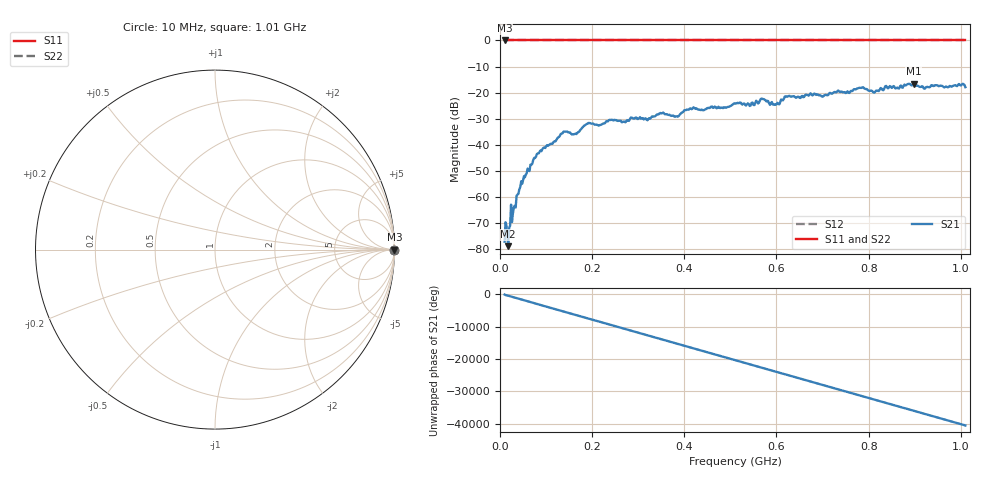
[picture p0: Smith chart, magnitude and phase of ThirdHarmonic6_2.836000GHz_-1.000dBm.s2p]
! 8/17/2025 7:35:35 AM
! C:\ANRITSUVNA\TEMP\TEMP.S2P
! CHANNEL.1
! TR.MEASUREMENT
! RAW.DATA
! RF.CORRECTION.OFF
! AVERAGING.OFF
! IF.BANDWIDTH: 5KHZ
! SWEEPTYPE:  FREQ.SWEEP(Linear)
! Reference Plane Port Info
! PORT:  PORT1  PORT2
! DISTANCE:  0  m  0  m
! TIME:  0  s  0  s
! PHASE.OFFSET:  0  deg.  0  deg.
! LOSS:  0  dB  0  dB
! REF.LOSS:  0  dB  0  dB
! REF.FREQ:  0  Hz  0  Hz
! Power Info
! POWER:  -20  dBm  -20  dBm
! EFF.POWER:  -20  dBm  -20  dBm
! SOURCE.ATTEN:  0  dB  0  dB
! TEST.ATTEN:  0  dB  0  dB
# GHZ S RI R 50.0
! FREQ.GHZ  S11RE  S11IM  S21RE  S21IM  S12RE  S12IM  S22RE  S22IM
!; PortSelection: Port_12
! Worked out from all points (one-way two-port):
!   501 points, 10 MHz to 1.01 GHz, reference 50 ohm
!   highest |S21| = -16.53 dB at 898 MHz (marker M1); lowest = -78.8 dB at 18 MHz (marker M2)
!   lowest |S11| = 0.0 dB at 10 MHz (marker M3)
!   |S11| at or under -10 dB: nowhere
!   |S22| runs from 0.0 to 0.0 dB; largest |S21 - S12| = 1.1
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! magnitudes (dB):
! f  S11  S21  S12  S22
! 10 MHz  0.0  -77.1  0.0  0.0
! 18 MHz  0.0  -78.8  0.0  0.0
! 28 MHz  0.0  -66.3  0.0  0.0
! 30 MHz  0.0  -63.9  0.0  0.0
! 42 MHz  0.0  -57.0  0.0  0.0
! 78 MHz  0.0  -44.6  0.0  0.0
! 136 MHz  0.0  -35.5  0.0  0.0
! 162 MHz  0.0  -35.9  0.0  0.0
! 178 MHz  0.0  -33.5  0.0  0.0
! 192 MHz  0.0  -31.6  0.0  0.0
! 344 MHz  0.0  -28.4  0.0  0.0
! 382 MHz  0.0  -29.0  0.0  0.0
! 416 MHz  0.0  -26.3  0.0  0.0
! 510 MHz  0.0  -24.2  0.0  0.0
! 546 MHz  0.0  -23.9  0.0  0.0
! 570 MHz  0.0  -22.4  0.0  0.0
! 596 MHz  0.0  -24.4  0.0  0.0
! 622 MHz  0.0  -21.6  0.0  0.0
! 678 MHz  0.0  -21.1  0.0  0.0
! 844 MHz  0.0  -18.0  0.0  0.0
! 898 MHz  0.0  -16.5  0.0  0.0
! 1.01 GHz  0.0  -17.9  0.0  0.0
